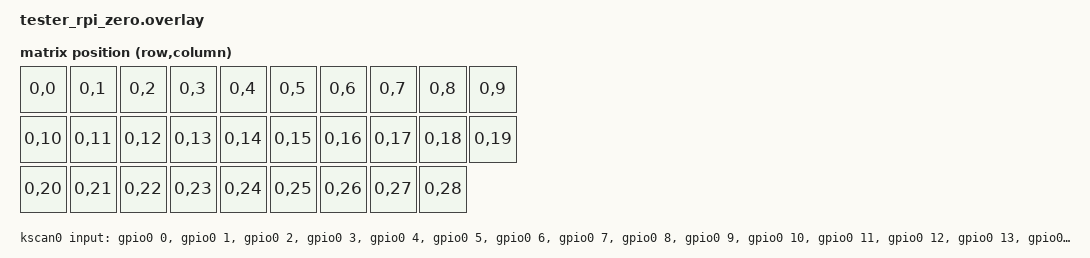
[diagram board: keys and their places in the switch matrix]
#include <dt-bindings/zmk/matrix_transform.h>
#include "tester_rpi_zero-layouts.dtsi"

&physical_layout0 {
    transform = <&transform0>;
};

&physical_layout1 {
    transform = <&transform0>;
};

/ {
    chosen {
        zmk,kscan = &kscan0;
        zmk,physical-layout = &physical_layout0;
    };

    kscan0: kscan {
        compatible = "zmk,kscan-gpio-direct";
        wakeup-source;
        debounce-press-ms = <10>;
        debounce-release-ms = <10>;
        input-gpios
            = <&gpio0 0 (GPIO_ACTIVE_LOW | GPIO_PULL_UP)>
            , <&gpio0 1 (GPIO_ACTIVE_LOW | GPIO_PULL_UP)>
            , <&gpio0 2 (GPIO_ACTIVE_LOW | GPIO_PULL_UP)>
            , <&gpio0 3 (GPIO_ACTIVE_LOW | GPIO_PULL_UP)>
            , <&gpio0 4 (GPIO_ACTIVE_LOW | GPIO_PULL_UP)>
            , <&gpio0 5 (GPIO_ACTIVE_LOW | GPIO_PULL_UP)>
            , <&gpio0 6 (GPIO_ACTIVE_LOW | GPIO_PULL_UP)>
            , <&gpio0 7 (GPIO_ACTIVE_LOW | GPIO_PULL_UP)>
            , <&gpio0 8 (GPIO_ACTIVE_LOW | GPIO_PULL_UP)>
            , <&gpio0 9 (GPIO_ACTIVE_LOW | GPIO_PULL_UP)>
            , <&gpio0 10 (GPIO_ACTIVE_LOW | GPIO_PULL_UP)>
            , <&gpio0 11 (GPIO_ACTIVE_LOW | GPIO_PULL_UP)>
            , <&gpio0 12 (GPIO_ACTIVE_LOW | GPIO_PULL_UP)>
            , <&gpio0 13 (GPIO_ACTIVE_LOW | GPIO_PULL_UP)>
            , <&gpio0 14 (GPIO_ACTIVE_LOW | GPIO_PULL_UP)>
            , <&gpio0 15 (GPIO_ACTIVE_LOW | GPIO_PULL_UP)>
            // GP16 is not exposed, used for the RGB LED
            , <&gpio0 17 (GPIO_ACTIVE_LOW | GPIO_PULL_UP)>
            , <&gpio0 18 (GPIO_ACTIVE_LOW | GPIO_PULL_UP)>
            , <&gpio0 19 (GPIO_ACTIVE_LOW | GPIO_PULL_UP)>
            , <&gpio0 20 (GPIO_ACTIVE_LOW | GPIO_PULL_UP)>
            , <&gpio0 21 (GPIO_ACTIVE_LOW | GPIO_PULL_UP)>
            , <&gpio0 22 (GPIO_ACTIVE_LOW | GPIO_PULL_UP)>
            , <&gpio0 23 (GPIO_ACTIVE_LOW | GPIO_PULL_UP)>
            , <&gpio0 24 (GPIO_ACTIVE_LOW | GPIO_PULL_UP)>
            , <&gpio0 25 (GPIO_ACTIVE_LOW | GPIO_PULL_UP)>
            , <&gpio0 26 (GPIO_ACTIVE_LOW | GPIO_PULL_UP)>
            , <&gpio0 27 (GPIO_ACTIVE_LOW | GPIO_PULL_UP)>
            , <&gpio0 28 (GPIO_ACTIVE_LOW | GPIO_PULL_UP)>
            , <&gpio0 29 (GPIO_ACTIVE_LOW | GPIO_PULL_UP)>
            ;
    };

    // 29 keys, GP0 to GP29 except GP16:
    transform0: keymap_transform {
        compatible = "zmk,matrix-transform";
        columns = <26>;
        rows = <1>;
        map = <
        RC(0,0)  RC(0,1)  RC(0,2)  RC(0,3)  RC(0,4)  RC(0,5)  RC(0,6)  RC(0,7)  RC(0,8)  RC(0,9)
        RC(0,10) RC(0,11) RC(0,12) RC(0,13) RC(0,14) RC(0,15) RC(0,16) RC(0,17) RC(0,18) RC(0,19)
        RC(0,20) RC(0,21) RC(0,22) RC(0,23) RC(0,24) RC(0,25) RC(0,26) RC(0,27) RC(0,28)
        >;
    };
};
